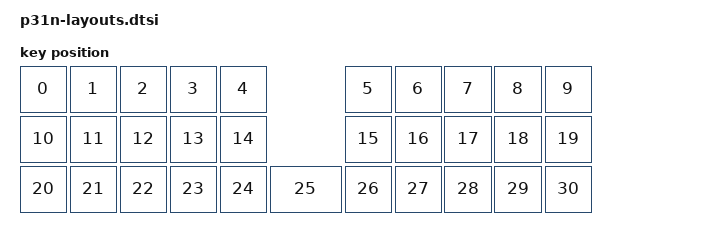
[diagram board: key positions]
#include <physical_layouts.dtsi>

/ {
    physical_layout0: physical_layout_0 {
        compatible = "zmk,physical-layout";
        display-name = "X.Tips P31n";

        kscan = <&kscan0>;
        transform = <&default_transform>;

        keys  //                     w   h    x    y     rot    rx    ry
            = <&key_physical_attrs 100 100    0    0       0     0     0>
            , <&key_physical_attrs 100 100  100    0       0     0     0>
            , <&key_physical_attrs 100 100  200    0       0     0     0>
            , <&key_physical_attrs 100 100  300    0       0     0     0>
            , <&key_physical_attrs 100 100  400    0       0     0     0>
            , <&key_physical_attrs 100 100  650    0       0     0     0>
            , <&key_physical_attrs 100 100  750    0       0     0     0>
            , <&key_physical_attrs 100 100  850    0       0     0     0>
            , <&key_physical_attrs 100 100  950    0       0     0     0>
            , <&key_physical_attrs 100 100 1050    0       0     0     0>

            , <&key_physical_attrs 100 100    0  100       0     0     0>
            , <&key_physical_attrs 100 100  100  100       0     0     0>
            , <&key_physical_attrs 100 100  200  100       0     0     0>
            , <&key_physical_attrs 100 100  300  100       0     0     0>
            , <&key_physical_attrs 100 100  400  100       0     0     0>
            , <&key_physical_attrs 100 100  650  100       0     0     0>
            , <&key_physical_attrs 100 100  750  100       0     0     0>
            , <&key_physical_attrs 100 100  850  100       0     0     0>
            , <&key_physical_attrs 100 100  950  100       0     0     0>
            , <&key_physical_attrs 100 100 1050  100       0     0     0>

            , <&key_physical_attrs 100 100    0  200       0     0     0>
            , <&key_physical_attrs 100 100  100  200       0     0     0>
            , <&key_physical_attrs 100 100  200  200       0     0     0>
            , <&key_physical_attrs 100 100  300  200       0     0     0>
            , <&key_physical_attrs 100 100  400  200       0     0     0>
            , <&key_physical_attrs 150 100  500  200       0     0     0>
            , <&key_physical_attrs 100 100  650  200       0     0     0>
            , <&key_physical_attrs 100 100  750  200       0     0     0>
            , <&key_physical_attrs 100 100  850  200       0     0     0>
            , <&key_physical_attrs 100 100  950  200       0     0     0>
            , <&key_physical_attrs 100 100 1050  200       0     0     0>
            ;
    };
};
